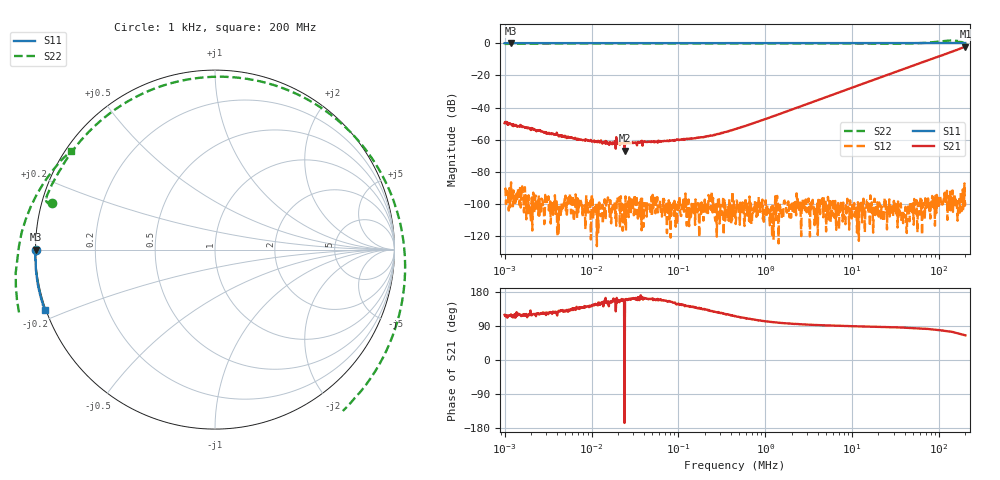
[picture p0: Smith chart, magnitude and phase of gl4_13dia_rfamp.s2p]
! ListType=Log
# MHZ S RI R 50
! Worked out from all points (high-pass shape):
!   1000 points, 1 kHz to 200 MHz, reference 50 ohm
!   highest |S21| = -2.12 dB at 200 MHz (marker M1); lowest = -66.7 dB at 23.97 kHz (marker M2)
!   |S21| within 3 dB of the highest: 143.7 MHz to end of sweep
!   lowest |S11| = 0.0 dB at 1.187 kHz (marker M3)
!   |S11| at or under -10 dB: nowhere
!   |S22| runs from -0.5 to 1.7 dB; largest |S21 - S12| = 0.78
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0.001  -0.9983 -0.000544  -0.0016 0.00286  -1.15e-05 -2.99e-05  -0.9089 0.26
0.0011866  -0.9981 4.95e-05  -0.00154 0.00262  -4.54e-05 -1.52e-05  -0.9122 0.2582
0.0076941  -0.9988 -2.61e-05  -0.000741 0.000669  -2.1e-06 8.4e-06  -0.9422 0.2759
0.0239689  -1.001 0.000416  -0.000449 -0.000111  -3.4e-06 -2.8e-06  -0.9432 0.2849
0.0584804  -0.9987 -0.000246  -0.000866 0.000365  1.1e-06 -7.5e-06  -0.9406 0.2882
0.1960367  -0.9991 -0.000585  -0.000856 0.000877  -3.4e-06 -1.13e-05  -0.9389 0.2935
0.4499541  -0.9991 -0.00112  -0.000923 0.00193  1.8e-06 7.1e-06  -0.9349 0.303
3.419952  -0.9998 -0.00681  -0.000751 0.0145  -1.8e-06 -7.2e-06  -0.8867 0.4028
12.03851  -1 -0.0227  0.00114 0.05  -7.5e-06 -3e-07  -0.7122 0.6466
26.31347  -1.001 -0.0484  0.00614 0.1069  3.6e-06 -3.5e-06  -0.3118 0.9064
38.43037  -1 -0.0698  0.0125 0.1544  1.2e-06 -2.3e-06  0.0882 0.9611
50.9003  -0.9991 -0.0917  0.0207 0.2024  -1e-07 -2.3e-06  0.4925 0.8486
64.99008  -0.9974 -0.1163  0.0319 0.2562  6e-06 -3.9e-06  0.8567 0.5339
81.97236  -0.9944 -0.1454  0.0519 0.3205  5.3e-06 -7.1e-06  1.057 -0.0223
92.62555  -0.992 -0.1636  0.0668 0.3588  -3.4e-06 -4.1e-06  1.016 -0.4025
103.3922  -0.9891 -0.1819  0.0825 0.395  -9.6e-06 -1.12e-05  0.8402 -0.7545
116.8291  -0.9852 -0.2043  0.1044 0.4414  1.25e-05 -4.9e-06  0.4616 -1.075
128.8255  -0.981 -0.2242  0.126 0.4786  -1.25e-05 -1.01e-05  0.0311 -1.195
145.5678  -0.9743 -0.2519  0.1582 0.5414  5.8e-06 -1.22e-05  -0.5687 -1.06
164.4859  -0.9657 -0.2824  0.2148 0.5987  4.6e-06 -3.3e-06  -1.028 -0.5582
179.1732  -0.9594 -0.3084  0.2623 0.649  -1.87e-05 -8.8e-06  -1.102 -0.0581
200  -0.9481 -0.3372  0.3295 0.7108  -1.29e-05 -6.6e-06  -0.8026 0.5506
